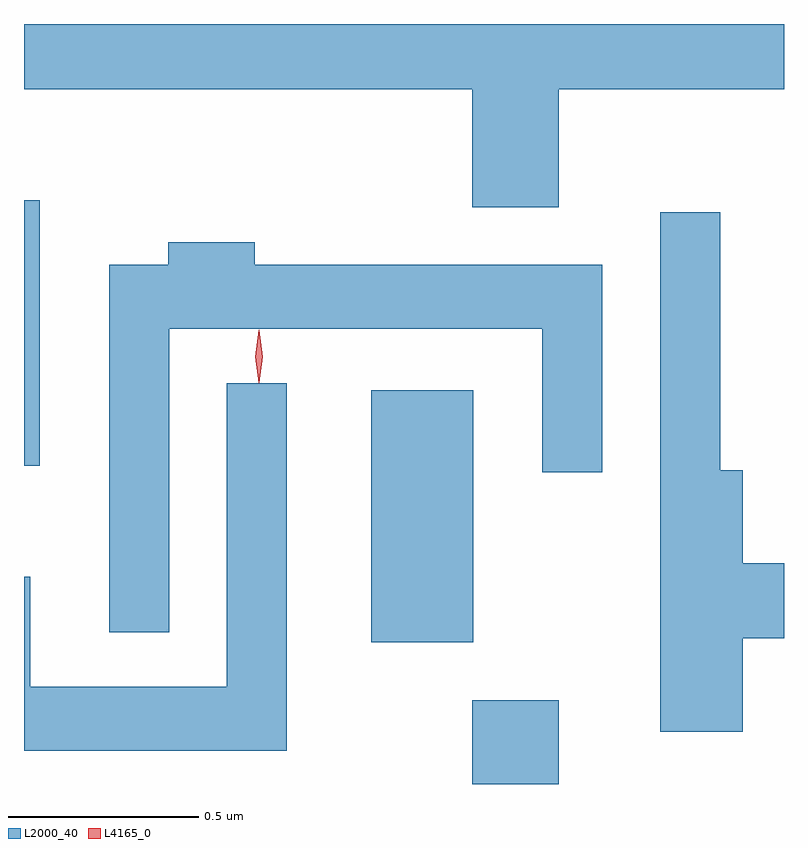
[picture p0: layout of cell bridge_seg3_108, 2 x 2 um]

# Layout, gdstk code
import gdstk
lib = gdstk.Library(unit=1e-6, precision=1e-09)
def R(c, l, rs):  # rectangles x0, y0, x1, y1
    for r in rs: c.add(gdstk.rectangle(r[:2], r[2:], *l))
def P(c, l, *ps):  # polygons
    for p in ps: c.add(gdstk.Polygon(p, *l))
L2000_40 = (2000, 40)
L4165_0 = (4165, 0)

bridge_seg3_108 = lib.new_cell('bridge_seg3_108')
R(bridge_seg3_108, L2000_40, [(1019.901,1248.508,1020.129,1248.729), (1019.636,1248.881,1019.904,1249.544), (1018.722,1249.346,1018.764,1250.044)])
P(bridge_seg3_108, L2000_40, [(1020.129,1250.336),(1020.722,1250.336),(1020.722,1250.508),(1018.722,1250.508),(1018.722,1250.336),(1019.901,1250.336),(1019.901,1250.026),(1020.129,1250.026)],
  [(1020.614,1248.891),(1020.722,1248.891),(1020.722,1249.089),(1020.614,1249.089),(1020.614,1249.334),(1020.554,1249.334),(1020.554,1250.013),(1020.396,1250.013),(1020.396,1248.646),(1020.614,1248.646)],
  [(1019.104,1249.706),(1020.086,1249.706),(1020.086,1249.328),(1020.244,1249.328),(1020.244,1249.874),(1019.329,1249.874),(1019.329,1249.934),(1019.101,1249.934),(1019.101,1249.874),(1018.946,1249.874),(1018.946,1248.908),(1019.104,1248.908)],
  [(1019.414,1249.563),(1019.256,1249.563),(1019.256,1248.764),(1018.739,1248.764),(1018.739,1249.054),(1018.722,1249.054),(1018.722,1248.596),(1019.414,1248.596)])
P(bridge_seg3_108, L4165_0, [(1019.34,1249.563),(1019.34,1249.564),(1019.331,1249.633),(1019.34,1249.702),(1019.341,1249.703),(1019.341,1249.702),(1019.35,1249.633),(1019.341,1249.564)])

lib.write_gds('bridge_seg3_108.gds')
